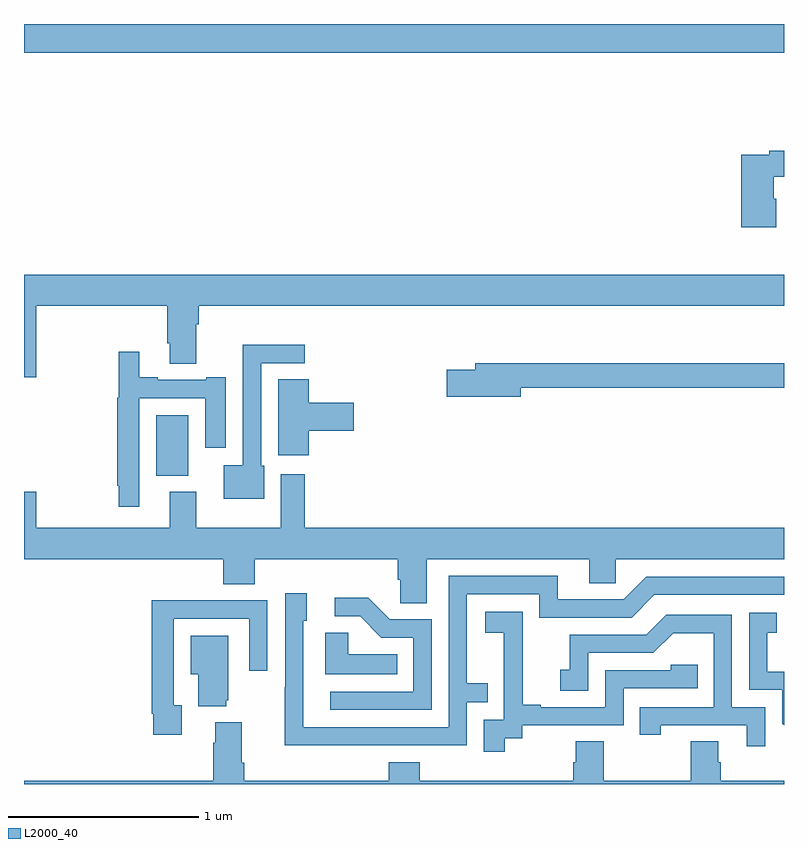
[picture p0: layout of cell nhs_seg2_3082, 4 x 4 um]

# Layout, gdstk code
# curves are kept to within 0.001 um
import gdstk
lib = gdstk.Library(unit=1e-6, precision=1e-09)
def R(c, l, rs):  # rectangles x0, y0, x1, y1
    for r in rs: c.add(gdstk.rectangle(r[:2], r[2:], *l))
def P(c, l, *ps):  # polygons
    for p in ps: c.add(gdstk.Polygon(p, *l))
L2000_40 = (2000, 40)

nhs_seg2_3082 = lib.new_cell('nhs_seg2_3082')
R(nhs_seg2_3082, L2000_40, [(273.695,633.422,273.865,633.742), (273,635.648,277,635.8)])
P(nhs_seg2_3082, L2000_40, [(276.959,634.881),(276.946,634.881),(276.946,634.996),(277,634.996),(277,635.132),(276.922,635.132),(276.922,635.112),(276.776,635.112),(276.776,634.731),(276.959,634.731)],
  [(273.064,634.316),(273.755,634.316),(273.755,634.12),(273.767,634.12),(273.767,634.012),(273.907,634.012),(273.907,634.22),(273.92,634.22),(273.92,634.316),(277,634.316),(277,634.48),(273,634.48),(273,633.942),(273.064,633.942)],
  [(274.264,633.474),(274.248,633.474),(274.248,634.014),(274.477,634.014),(274.477,634.112),(274.152,634.112),(274.152,633.478),(274.052,633.478),(274.052,633.302),(274.264,633.302)],
  [(273.606,633.831),(273.953,633.831),(273.953,633.57),(274.063,633.57),(274.063,633.94),(273.959,633.94),(273.959,633.927),(273.703,633.927),(273.703,633.94),(273.607,633.94),(273.607,634.075),(273.498,634.075),(273.498,633.834),(273.49,633.834),(273.49,633.37),(273.498,633.37),(273.498,633.258),(273.606,633.258)],
  [(275.614,633.886),(277,633.886),(277,634.015),(275.375,634.015),(275.375,633.981),(275.226,633.981),(275.226,633.839),(275.614,633.839)],
  [(274.499,633.659),(274.735,633.659),(274.735,633.806),(274.499,633.806),(274.499,633.929),(274.337,633.929),(274.337,633.531),(274.499,633.531)],
  [(275.119,632.984),(275.975,632.984),(275.975,632.857),(276.114,632.857),(276.114,632.984),(277,632.984),(277,633.148),(274.478,633.148),(274.478,633.43),(274.352,633.43),(274.352,633.148),(273.907,633.148),(273.907,633.337),(273.767,633.337),(273.767,633.148),(273.064,633.148),(273.064,633.337),(273,633.337),(273,632.984),(274.049,632.984),(274.049,632.851),(274.214,632.851),(274.214,632.984),(274.967,632.984),(274.967,632.875),(274.98,632.875),(274.98,632.752),(275.119,632.752)],
  [(274.835,632.004),(275.331,632.004),(275.331,632.229),(275.441,632.229),(275.441,632.33),(275.331,632.33),(275.331,632.799),(275.712,632.799),(275.712,632.676),(276.198,632.676),(276.318,632.796),(277,632.796),(277,632.892),(276.276,632.892),(276.156,632.772),(275.809,632.772),(275.809,632.895),(275.235,632.895),(275.235,632.1),(274.47,632.1),(274.47,632.658),(274.489,632.658),(274.489,632.803),(274.374,632.803),(274.374,632.309),(274.372,632.309),(274.372,632.003)],
  [(275.145,632.667),(274.926,632.667),(274.813,632.78),(274.635,632.78),(274.635,632.682),(274.769,632.682),(274.88,632.571),(275.049,632.571),(275.049,632.286),(274.611,632.286),(274.611,632.19),(275.145,632.19)],
  [(273.829,632.214),(273.789,632.214),(273.789,632.67),(274.185,632.67),(274.185,632.397),(274.281,632.397),(274.281,632.766),(273.965,632.766),(273.965,632.768),(273.673,632.768),(273.673,632.17),(273.681,632.17),(273.681,632.058),(273.829,632.058)],
  [(275.53,632.041),(275.622,632.041),(275.622,632.109),(276.156,632.109),(276.156,632.304),(276.545,632.304),(276.545,632.427),(276.405,632.427),(276.405,632.4),(276.06,632.4),(276.06,632.205),(275.719,632.205),(275.719,632.218),(275.624,632.218),(275.624,632.501),(275.625,632.501),(275.625,632.707),(275.427,632.707),(275.427,632.597),(275.525,632.597),(275.525,632.369),(275.526,632.369),(275.526,632.139),(275.421,632.139),(275.421,631.971),(275.53,631.971)],
  [(277,632.391),(276.913,632.391),(276.913,632.595),(276.962,632.595),(276.962,632.701),(276.816,632.701),(276.816,632.295),(276.99,632.295),(276.99,632.118),(277,632.108)],
  [(276.9,632.205),(276.726,632.205),(276.726,632.691),(276.38,632.691),(276.275,632.586),(275.872,632.586),(275.872,632.401),(275.823,632.401),(275.823,632.292),(275.97,632.292),(275.97,632.49),(276.312,632.49),(276.416,632.594),(276.63,632.594),(276.63,632.205),(276.241,632.205),(276.241,632.058),(276.352,632.058),(276.352,632.109),(276.803,632.109),(276.803,631.998),(276.9,631.998)],
  [(274.964,632.482),(274.707,632.482),(274.707,632.597),(274.586,632.597),(274.586,632.378),(274.964,632.378)],
  [(274.064,632.241),(274.075,632.241),(274.075,632.581),(273.878,632.581),(273.878,632.378),(273.917,632.378),(273.917,632.21),(274.064,632.21)],
  [(277,631.816),(276.668,631.816),(276.668,631.914),(276.655,631.914),(276.655,632.024),(276.508,632.024),(276.508,631.816),(276.051,631.816),(276.051,632.024),(275.903,632.024),(275.903,631.914),(275.891,631.914),(275.891,631.816),(275.084,631.816),(275.084,631.915),(274.919,631.915),(274.919,631.816),(274.16,631.816),(274.16,631.912),(274.147,631.912),(274.147,632.125),(274.007,632.125),(274.007,632.018),(273.995,632.018),(273.995,631.816),(273,631.816),(273,631.8),(277,631.8)])

lib.write_gds('nhs_seg2_3082.gds')
